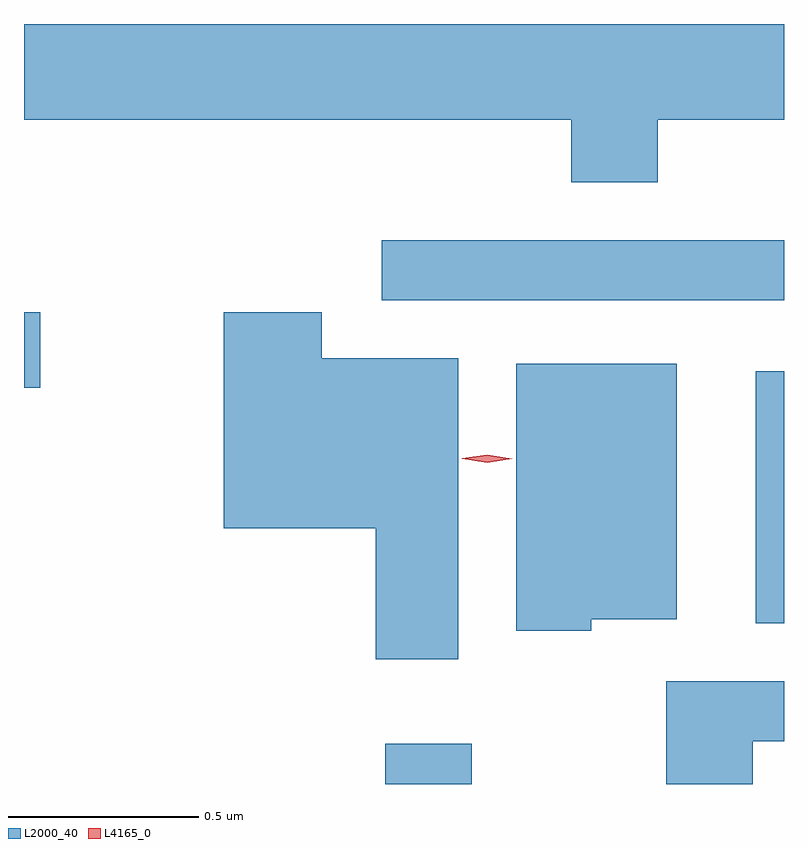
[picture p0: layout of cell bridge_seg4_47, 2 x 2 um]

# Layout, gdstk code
import gdstk
lib = gdstk.Library(unit=1e-6, precision=1e-09)
def R(c, l, rs):  # rectangles x0, y0, x1, y1
    for r in rs: c.add(gdstk.rectangle(r[:2], r[2:], *l))
def P(c, l, *ps):  # polygons
    for p in ps: c.add(gdstk.Polygon(p, *l))
L2000_40 = (2000, 40)
L4165_0 = (4165, 0)

bridge_seg4_47 = lib.new_cell('bridge_seg4_47')
R(bridge_seg4_47, L2000_40, [(1267.231,1301.868,1267.459,1301.974), (1268.206,1302.291,1268.281,1302.954), (1266.281,1302.911,1266.324,1303.109), (1267.223,1303.141,1268.281,1303.299)])
P(bridge_seg4_47, L2000_40, [(1267.949,1303.616),(1268.281,1303.616),(1268.281,1303.868),(1266.281,1303.868),(1266.281,1303.616),(1267.721,1303.616),(1267.721,1303.451),(1267.949,1303.451)],
  [(1267.424,1302.989),(1267.064,1302.989),(1267.064,1303.109),(1266.806,1303.109),(1266.806,1302.541),(1267.206,1302.541),(1267.206,1302.196),(1267.424,1302.196)],
  [(1267.774,1302.301),(1267.999,1302.301),(1267.999,1302.974),(1267.576,1302.974),(1267.576,1302.271),(1267.774,1302.271)],
  [(1268.199,1301.981),(1268.281,1301.981),(1268.281,1302.139),(1267.971,1302.139),(1267.971,1301.868),(1268.199,1301.868)])
P(bridge_seg4_47, L4165_0, [(1267.5,1302.714),(1267.434,1302.724),(1267.433,1302.724),(1267.434,1302.725),(1267.5,1302.734),(1267.566,1302.724),(1267.566,1302.724),(1267.566,1302.724)])

lib.write_gds('bridge_seg4_47.gds')
